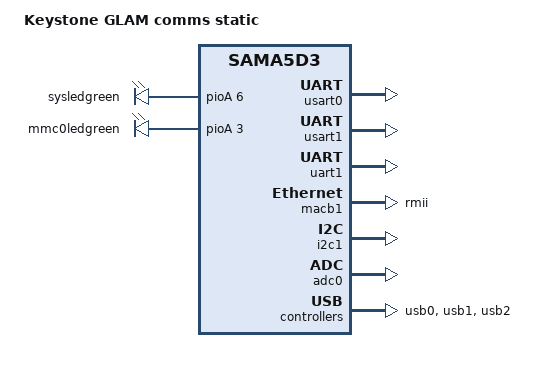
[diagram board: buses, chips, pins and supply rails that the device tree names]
/*
 * kses-glam-comms-static.dts - Device Tree file for Keystone RSM Blue board
 *
 * Based on sama5d36ek.dtb by  Josh Wu <josh.wu@atmel.com> 
 *   Copyright (C) 2016 Keystone Electronic Solutions,
 *                2016 John Eigelaar <john@kses.net>
 *
 * Licensed under GPLv2 or later.
 */


/dts-v1/;

#include "sama5d36.dtsi"
#include "kses-bp-cm.dtsi"

/ {
	model = "Keystone GLAM comms static";
    compatible = "kses,bluepenguin", "atmel,sama5d36ek", "atmel,sama5d3xmb", "atmel,sama5d3xcm", "atmel,sama5d36", "atmel,sama5d3", "atmel,sama5";

		
	guinnux {
		boardid = "7";
		description = "KSES GLAM comms static module";	
		dtbname = "kses-glam-comms-static.dtb";
			
		net {
		        usb  = "usb0";
                wan  = "eth0";
	    	};
	    	
	    	
	    serial {
	       /* Config String Format: */
	       /* device:owner:editable:baud:databits:stopbits:mode */
           serial0  = "/dev/ttyS2:glam:yes:115200:8:1:rs485";
	       serial1  = "/dev/ttyS1:glam:yes:115200:8:1:rs485";
	       gsm_uart = "/dev/ttyS6:sim5360:no:115200:8:1:rs232";
	       
	       gps      = "/dev/ttyUSB1:sim5360:no:4000000:8:1:rs232";
	       gsm      = "/dev/ttyUSB2:sim5360:no:4000000:8:1:rs232";
	    };	
	};


	ahb {
		apb {			
			
			
			usart0: serial@f001c000 {
				pinctrl-names = "default";
				pinctrl-0 = <&pinctrl_usart0 &pinctrl_usart0_rts_cts>;
				status = "okay";
			
			};
			
			usart1: serial@f0020000 {
				pinctrl-names = "default";
				pinctrl-0 = <&pinctrl_usart1 &pinctrl_usart1_rts_cts>;
				status = "okay";
			};
						
			uart1: serial@f8028000 {
				pinctrl-names = "default";
				status = "okay";
			};

			macb1: ethernet@f802c000 { //emac
				phy-mode = "rmii";
				status = "okay";			
			};
			
            i2c1: i2c@f0018000 {
				status = "okay";			
			};
			
            adc0: adc@f8018000 {
				pinctrl-names = "default";
				pinctrl-0 = <
					&pinctrl_adc0_ad11
					&pinctrl_adc0_ad9
					>;
				status = "okay";
			};
						
			pinctrl@fffff200 {
				board {
					pinctrl_led_h: led_h {
						atmel,pins =
							<0 4 0x0 0x4>;	/* PA4 GPIO  */
					};
					
					pinctrl_led_sd: led_sd {
						atmel,pins =
							<0 1 0x0 0x4>;	/* PA1 GPIO  */
					};
					
					pinctrl_i2c1_pu: i2c1_pu {
						atmel,pins =
						<AT91_PIOC 26 AT91_PERIPH_B AT91_PINCTRL_PULL_UP>,
						<AT91_PIOC 27 AT91_PERIPH_B AT91_PINCTRL_PULL_UP>;
					};
				};
			};
										
		};

		usb0: gadget@00500000 {
			atmel,vbus-gpio = <&pioD 29 0>;
			pinctrl-names = "default";
			pinctrl-0 = <&pinctrl_usba_vbus>;
			status = "okay";
		};

		usb1: ohci@00600000 {
			/*num-ports = <3>;
			atmel,vbus-gpio = <&pioD 25 0
					   &pioD 26 1
					   &pioD 27 1
					  >;*/
			status = "okay";
		};

		usb2: ehci@00700000 {
			status = "okay";
		};
	};

	leds {
		compatible = "gpio-leds";		

		sysledg {
			label = "sysledgreen";
			gpios = <&pioA 6 0>;	
			linux,default-trigger = "heartbeat";
		};
		
		mmc0ledg {
			label = "mmc0ledgreen";
			gpios = <&pioA 3 0>;	
			linux,default-trigger = "mmc0";
		};
	};
	
	 gnxio {
    	 compatible = "kses,gnxio";
    	     

	     gsmledr {
        	        label = "LED_GSM_RED";
        	        def_state = <0>;
        	        output = <1>;
        	        gpios = <&pioB 2 0>;
         };
        	     
	     gsmledg {
        	        label = "LED_GSM_GREEN";
        	        def_state = <1>;
        	        output = <1>;
        	        gpios = <&pioB 17 0>;
         };    
        	     
         gpsledr {
        	        label = "LED_GPS_RED";
        	        def_state = <0>;
        	        output = <1>;
        	        gpios = <&pioB 13 0>;
         }; 
        	     
	     gpsledg {
        	        label = "LED_GPS_GREEN";
        	        def_state = <1>;
        	        output = <1>;
        	        gpios = <&pioB 15 0>;
         }; 
        	         	     
        	 
         sysledr {
                label = "LED_SYS_RED";
                def_state = <0>;
                output = <1>;
                gpios = <&pioA 4 0>;
        };  
        	     
	    mmc0ledr {
        	        label = "LED_MMC0_RED";
        	        def_state = <0>;
        	        output = <1>;
        	        gpios = <&pioA 8 0>;
        }; 
        	     
	    gsmon {
			    label = "GSM_ON";
			    def_state = <0>;
			    output = <1>;
			    gpios = <&pioE 24 0>;
	    };  	 
		
	    gsmigt {
			    label = "GSM_IGT";
			    def_state = <0>;
			    output = <1>;
			    gpios = <&pioD 1 0>;
	    };
	    
	    buspower {
			label = "485BUS_POWER";
			def_state = <0>;
			output = <1>;
			gpios = <&pioB 0 0>;
		};

        chgiset {
			label = "CHG_ISET";
			def_state = <0>;
			output = <1>;
			gpios = <&pioD 3 0>;
		};  

        chgsense {
			label = "CHG_SENSE";
			def_state = <0>;
			output = <0>;
			gpios = <&pioA 16 0>;
		};  

        chgpg {
			label = "CHG_PG";
			def_state = <0>;
			output = <0>;
			gpios = <&pioA 18 0>;
		};  	

        pwroffchg {
			label = "PWR_OFF_CHG";
			def_state = <0>;
			output = <1>;
			gpios = <&pioD 5 0>;
		};  


        pwroffmains {
			label = "PWR_OFF_MAINS";
			def_state = <0>;
			output = <1>;
			gpios = <&pioA 14 0>;
		};            

        pwrinstatus {
			label = "PWR_IN_STATUS";
			def_state = <0>;
			output = <0>;
			gpios = <&pioD 6 0>;
		};  
			         	         
	    out1 {
        	     label = "OUT1";
        	     def_state = <0>;
        	     output = <1>;
        	     gpios = <&pioB 7 0>;
        };	
         
	    in1 {
                label = "IN1";
                def_state = <1>;
                output = <0>;
                gpios = <&pioB 14 0>;
	    };
	
	    in2 {
       	        label = "IN2";
       	        def_state = <1>;
       	        output = <0>;
       	        gpios = <&pioD 2 0>;
         };    
        	     
	    in3 {
        	        label = "IN3";
        	        def_state = <1>;
        	        output = <0>;
        	        gpios = <&pioD 8 0>;
        	     };  
        	     
	    in4 {
        	        label = "IN4";
        	        def_state = <1>;
        	        output = <0>;
        	        gpios = <&pioB 10 0>;
         };  
     };	
};
